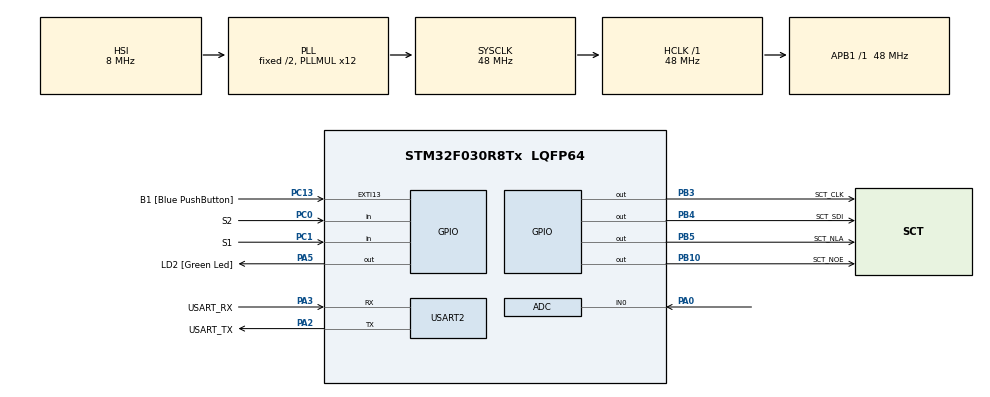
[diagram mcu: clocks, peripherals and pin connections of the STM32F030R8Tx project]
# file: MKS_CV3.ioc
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ADC.ContinuousConvMode=ENABLE
ADC.Overrun=ADC_OVR_DATA_OVERWRITTEN
ADC.SamplingTime=ADC_SAMPLETIME_239CYCLES_5
Mcu.Family=STM32F0
Mcu.Name=STM32F030R8Tx
Mcu.Package=LQFP64
NVIC.ADC1_IRQn=true\:0\:0\:false\:false\:true\:true\:true\:true
PA0.Mode=IN0
PA0.Signal=ADC_IN0
PA13.GPIO_Label=TMS
PA13.Mode=Serial_Wire
PA13.Signal=SYS_SWDIO
PA14.GPIO_Label=TCK
PA14.Mode=Serial_Wire
PA14.Signal=SYS_SWCLK
PA2.GPIO_Label=USART_TX
PA2.GPIO_Mode=GPIO_MODE_AF_PP
PA2.GPIO_PuPd=GPIO_NOPULL
PA2.GPIO_Speed=GPIO_SPEED_FREQ_LOW
PA2.Mode=Asynchronous
PA2.Signal=USART2_TX
PA3.GPIO_Label=USART_RX
PA3.GPIO_Mode=GPIO_MODE_AF_PP
PA3.GPIO_PuPd=GPIO_NOPULL
PA3.GPIO_Speed=GPIO_SPEED_FREQ_LOW
PA3.Mode=Asynchronous
PA3.Signal=USART2_RX
PA5.GPIO_Label=LD2 [Green Led]
PA5.GPIO_Mode=GPIO_MODE_OUTPUT_PP
PA5.GPIO_PuPd=GPIO_NOPULL
PA5.GPIO_Speed=GPIO_SPEED_FREQ_LOW
PA5.Signal=GPIO_Output
PB10.GPIO_Label=SCT_NOE
PB10.Signal=GPIO_Output
PB3.GPIO_Label=SCT_CLK
PB3.Signal=GPIO_Output
PB4.GPIO_Label=SCT_SDI
PB4.Signal=GPIO_Output
PB5.GPIO_Label=SCT_NLA
PB5.Signal=GPIO_Output
PC0.GPIO_Label=S2
PC0.Signal=GPIO_Input
PC1.GPIO_Label=S1
PC1.Signal=GPIO_Input
PC13.GPIO_Label=B1 [Blue PushButton]
PC13.GPIO_ModeDefaultEXTI=GPIO_MODE_IT_FALLING
PC13.Signal=GPXTI13
PC14-OSC32_IN.Mode=LSE-External-Oscillator
PC14-OSC32_IN.Signal=RCC_OSC32_IN
PC15-OSC32_OUT.Mode=LSE-External-Oscillator
PC15-OSC32_OUT.Signal=RCC_OSC32_OUT
PF0-OSC_IN.Mode=HSE-External-Clock-Source
PF0-OSC_IN.Signal=RCC_OSC_IN
PF1-OSC_OUT.Signal=RCC_OSC_OUT
ProjectManager.HeapSize=0x200
ProjectManager.StackSize=0x400
ProjectManager.TargetToolchain=STM32CubeIDE
RCC.AHBFreq_Value=48000000
RCC.APB1Freq_Value=48000000
RCC.APB1TimFreq_Value=48000000
RCC.HCLKFreq_Value=48000000
RCC.PLLMUL=RCC_PLL_MUL12
RCC.SYSCLKFreq_VALUE=48000000
RCC.SYSCLKSource=RCC_SYSCLKSOURCE_PLLCLK
USART2.VirtualMode-Asynchronous=VM_ASYNC
VP_ADC_TempSens_Input.Mode=IN-TempSens
VP_ADC_Vref_Input.Mode=IN-Vrefint
board=NUCLEO-F030R8

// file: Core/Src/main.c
/* USER CODE BEGIN Header */
/**
 ******************************************************************************
 * @file           : main.c
 * @brief          : Main program body
 ******************************************************************************
 * @attention
 *
 * Copyright (c) 2022 STMicroelectronics.
 * All rights reserved.
 *
 * This software is licensed under terms that can be found in the LICENSE file
 * in the root directory of this software component.
 * If no LICENSE file comes with this software, it is provided AS-IS.
 *
 ******************************************************************************
 */
/* USER CODE END Header */
#include "main.h"

/* USER CODE BEGIN Includes */
#include "sct.h"
/* USER CODE END Includes */

/* USER CODE BEGIN PD */
/* Temperature sensor calibration value address */
#define TEMP110_CAL_ADDR ((uint16_t*) ((uint32_t) 0x1FFFF7C2))
#define TEMP30_CAL_ADDR ((uint16_t*) ((uint32_t) 0x1FFFF7B8))
/* Internal voltage reference calibration value address */
#define VREFINT_CAL_ADDR ((uint16_t*) ((uint32_t) 0x1FFFF7BA))

#define ADC_Q 16;
/* USER CODE END PD */

ADC_HandleTypeDef hadc;

UART_HandleTypeDef huart2;

/* USER CODE BEGIN PV */
static volatile uint32_t raw_pot;
static volatile uint32_t raw_temp;
static volatile uint32_t raw_volt;

/* USER CODE END PV */

void SystemClock_Config(void);
static void MX_GPIO_Init(void);
static void MX_USART2_UART_Init(void);
static void MX_ADC_Init(void);
/* USER CODE BEGIN PFP */
void HAL_ADC_ConvCpltCallback(ADC_HandleTypeDef* hadc)
	{
	 static uint8_t channel;
	 static uint32_t avg_pot;

	 if(channel == 0){
	 raw_pot = avg_pot >> ADC_Q;
	 avg_pot -= raw_pot;
	 avg_pot += HAL_ADC_GetValue(hadc);
	 }

	 if(channel == 1){raw_temp=HAL_ADC_GetValue(hadc);}

	 if(channel == 2){raw_volt=HAL_ADC_GetValue(hadc);}

	 if (__HAL_ADC_GET_FLAG(hadc, ADC_FLAG_EOS)){ channel = 0;}
	 else {channel++;}

	}
/* USER CODE END PFP */

int main(void)
{

  /* MCU Configuration--------------------------------------------------------*/

  /* Reset of all peripherals, Initializes the Flash interface and the Systick. */
  HAL_Init();

  /* Configure the system clock */
  SystemClock_Config();

  /* Initialize all configured peripherals */
  MX_GPIO_Init();
  MX_USART2_UART_Init();
  MX_ADC_Init();
  /* USER CODE BEGIN 2 */

	HAL_ADCEx_Calibration_Start(&hadc);
	HAL_ADC_Start_IT(&hadc);

	sct_init();

  /* USER CODE END 2 */

  /* Infinite loop */
  /* USER CODE BEGIN WHILE */
	while (1) {

		static enum { SHOW_POT, SHOW_VOLT, SHOW_TEMP } state = SHOW_POT;

		uint8_t tl1 = HAL_GPIO_ReadPin(S1_GPIO_Port, S1_Pin);
		uint8_t tl2 = HAL_GPIO_ReadPin(S2_GPIO_Port, S2_Pin);
		static uint32_t button_time;

		//if(tl2==1){state = SHOW_POT;}else{state = SHOW_TEMP;};
		if (tl1 == 0) {
			state = SHOW_TEMP;
			button_time = HAL_GetTick();
		}
		if (tl2 == 0) {
			state = SHOW_VOLT;
			button_time = HAL_GetTick();
		}
		if((HAL_GetTick()-button_time)>1000){
			state = SHOW_POT;
		}

		uint16_t trimr_hotnota = (raw_pot*500)/4095;
		uint16_t trimr_hotnota_led = (raw_pot*8)/4095;
		//sct_value(trimr_hotnota,trimr_hotnota_led);

		uint32_t voltage = 330 * (*VREFINT_CAL_ADDR) / raw_volt;

		int32_t temperature = (raw_temp - (int32_t)(*TEMP30_CAL_ADDR));
				temperature = temperature * (int32_t)(110 - 30);
				temperature = temperature / (int32_t)(*TEMP110_CAL_ADDR - *TEMP30_CAL_ADDR);
				temperature = temperature + 30;

		if(state == SHOW_POT){
		sct_value(trimr_hotnota,trimr_hotnota_led);}

		if(state == SHOW_VOLT){
		sct_value(voltage,0);}

		if(state == SHOW_TEMP){
		sct_value(temperature,0);
		}

		HAL_Delay(50);

    /* USER CODE END WHILE */

	}
}

void SystemClock_Config(void)
{
  RCC_OscInitTypeDef RCC_OscInitStruct = {0};
  RCC_ClkInitTypeDef RCC_ClkInitStruct = {0};

  /** Initializes the RCC Oscillators according to the specified parameters
  * in the RCC_OscInitTypeDef structure.
  */
  RCC_OscInitStruct.OscillatorType = RCC_OSCILLATORTYPE_HSI|RCC_OSCILLATORTYPE_HSI14;
  RCC_OscInitStruct.HSIState = RCC_HSI_ON;
  RCC_OscInitStruct.HSI14State = RCC_HSI14_ON;
  RCC_OscInitStruct.HSICalibrationValue = RCC_HSICALIBRATION_DEFAULT;
  RCC_OscInitStruct.HSI14CalibrationValue = 16;
  RCC_OscInitStruct.PLL.PLLState = RCC_PLL_ON;
  RCC_OscInitStruct.PLL.PLLSource = RCC_PLLSOURCE_HSI;
  RCC_OscInitStruct.PLL.PLLMUL = RCC_PLL_MUL12;
  RCC_OscInitStruct.PLL.PREDIV = RCC_PREDIV_DIV1;
  if (HAL_RCC_OscConfig(&RCC_OscInitStruct) != HAL_OK)
  {
    Error_Handler();
  }

  /** Initializes the CPU, AHB and APB buses clocks
  */
  RCC_ClkInitStruct.ClockType = RCC_CLOCKTYPE_HCLK|RCC_CLOCKTYPE_SYSCLK
                              |RCC_CLOCKTYPE_PCLK1;
  RCC_ClkInitStruct.SYSCLKSource = RCC_SYSCLKSOURCE_PLLCLK;
  RCC_ClkInitStruct.AHBCLKDivider = RCC_SYSCLK_DIV1;
  RCC_ClkInitStruct.APB1CLKDivider = RCC_HCLK_DIV1;

  if (HAL_RCC_ClockConfig(&RCC_ClkInitStruct, FLASH_LATENCY_1) != HAL_OK)
  {
    Error_Handler();
  }
}

static void MX_ADC_Init(void)
{

  ADC_ChannelConfTypeDef sConfig = {0};

  /** Configure the global features of the ADC (Clock, Resolution, Data Alignment and number of conversion)
  */
  hadc.Instance = ADC1;
  hadc.Init.ClockPrescaler = ADC_CLOCK_ASYNC_DIV1;
  hadc.Init.Resolution = ADC_RESOLUTION_12B;
  hadc.Init.DataAlign = ADC_DATAALIGN_RIGHT;
  hadc.Init.ScanConvMode = ADC_SCAN_DIRECTION_FORWARD;
  hadc.Init.EOCSelection = ADC_EOC_SINGLE_CONV;
  hadc.Init.LowPowerAutoWait = DISABLE;
  hadc.Init.LowPowerAutoPowerOff = DISABLE;
  hadc.Init.ContinuousConvMode = ENABLE;
  hadc.Init.DiscontinuousConvMode = DISABLE;
  hadc.Init.ExternalTrigConv = ADC_SOFTWARE_START;
  hadc.Init.ExternalTrigConvEdge = ADC_EXTERNALTRIGCONVEDGE_NONE;
  hadc.Init.DMAContinuousRequests = DISABLE;
  hadc.Init.Overrun = ADC_OVR_DATA_OVERWRITTEN;
  if (HAL_ADC_Init(&hadc) != HAL_OK)
  {
    Error_Handler();
  }

  /** Configure for the selected ADC regular channel to be converted.
  */
  sConfig.Channel = ADC_CHANNEL_0;
  sConfig.Rank = ADC_RANK_CHANNEL_NUMBER;
  sConfig.SamplingTime = ADC_SAMPLETIME_239CYCLES_5;
  if (HAL_ADC_ConfigChannel(&hadc, &sConfig) != HAL_OK)
  {
    Error_Handler();
  }

  /** Configure for the selected ADC regular channel to be converted.
  */
  sConfig.Channel = ADC_CHANNEL_TEMPSENSOR;
  if (HAL_ADC_ConfigChannel(&hadc, &sConfig) != HAL_OK)
  {
    Error_Handler();
  }

  /** Configure for the selected ADC regular channel to be converted.
  */
  sConfig.Channel = ADC_CHANNEL_VREFINT;
  if (HAL_ADC_ConfigChannel(&hadc, &sConfig) != HAL_OK)
  {
    Error_Handler();
  }

}

static void MX_USART2_UART_Init(void)
{

  huart2.Instance = USART2;
  huart2.Init.BaudRate = 38400;
  huart2.Init.WordLength = UART_WORDLENGTH_8B;
  huart2.Init.StopBits = UART_STOPBITS_1;
  huart2.Init.Parity = UART_PARITY_NONE;
  huart2.Init.Mode = UART_MODE_TX_RX;
  huart2.Init.HwFlowCtl = UART_HWCONTROL_NONE;
  huart2.Init.OverSampling = UART_OVERSAMPLING_16;
  huart2.Init.OneBitSampling = UART_ONE_BIT_SAMPLE_DISABLE;
  huart2.AdvancedInit.AdvFeatureInit = UART_ADVFEATURE_NO_INIT;
  if (HAL_UART_Init(&huart2) != HAL_OK)
  {
    Error_Handler();
  }

}

static void MX_GPIO_Init(void)
{
  GPIO_InitTypeDef GPIO_InitStruct = {0};

  /* GPIO Ports Clock Enable */
  __HAL_RCC_GPIOC_CLK_ENABLE();
  __HAL_RCC_GPIOF_CLK_ENABLE();
  __HAL_RCC_GPIOA_CLK_ENABLE();
  __HAL_RCC_GPIOB_CLK_ENABLE();

  /*Configure GPIO pin Output Level */
  HAL_GPIO_WritePin(GPIOA, GPIO_PIN_5, GPIO_PIN_RESET);

  /*Configure GPIO pin Output Level */
  HAL_GPIO_WritePin(GPIOB, GPIO_PIN_10|GPIO_PIN_3|GPIO_PIN_4|GPIO_PIN_5, GPIO_PIN_RESET);

  /*Configure GPIO pin : PC13 */
  GPIO_InitStruct.Pin = GPIO_PIN_13;
  GPIO_InitStruct.Mode = GPIO_MODE_IT_FALLING;
  GPIO_InitStruct.Pull = GPIO_NOPULL;
  HAL_GPIO_Init(GPIOC, &GPIO_InitStruct);

  /*Configure GPIO pins : PC0 PC1 */
  GPIO_InitStruct.Pin = GPIO_PIN_0|GPIO_PIN_1;
  GPIO_InitStruct.Mode = GPIO_MODE_INPUT;
  GPIO_InitStruct.Pull = GPIO_NOPULL;
  HAL_GPIO_Init(GPIOC, &GPIO_InitStruct);

  /*Configure GPIO pin : PA5 */
  GPIO_InitStruct.Pin = GPIO_PIN_5;
  GPIO_InitStruct.Mode = GPIO_MODE_OUTPUT_PP;
  GPIO_InitStruct.Pull = GPIO_NOPULL;
  GPIO_InitStruct.Speed = GPIO_SPEED_FREQ_LOW;
  HAL_GPIO_Init(GPIOA, &GPIO_InitStruct);

  /*Configure GPIO pins : PB10 PB3 PB4 PB5 */
  GPIO_InitStruct.Pin = GPIO_PIN_10|GPIO_PIN_3|GPIO_PIN_4|GPIO_PIN_5;
  GPIO_InitStruct.Mode = GPIO_MODE_OUTPUT_PP;
  GPIO_InitStruct.Pull = GPIO_NOPULL;
  GPIO_InitStruct.Speed = GPIO_SPEED_FREQ_LOW;
  HAL_GPIO_Init(GPIOB, &GPIO_InitStruct);

}

void Error_Handler(void)
{
	__disable_irq();
	while (1) {
	}
}
